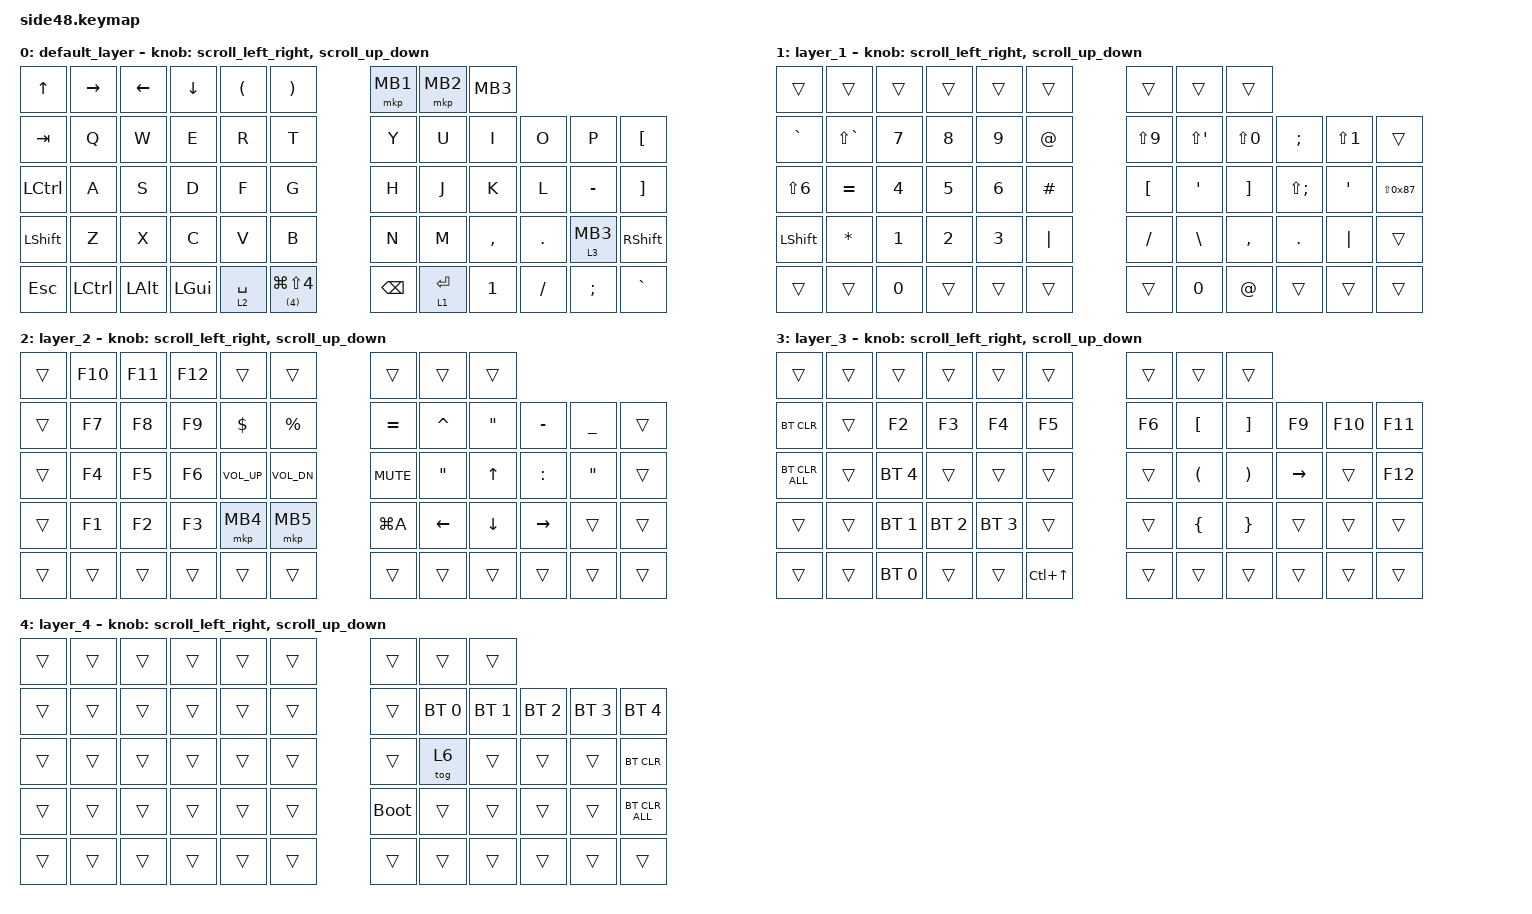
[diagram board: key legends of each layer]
#include <input/processors.dtsi>
#include <dt-bindings/zmk/input_transform.h>
#include <zephyr/dt-bindings/input/input-event-codes.h>
#include <behaviors.dtsi>
#include <dt-bindings/zmk/bt.h>
#include <dt-bindings/zmk/keys.h>
#include <dt-bindings/zmk/pointing.h>

// Conversion definition for using Japanese keyboard with OS settings

#define JP_DQUOTE       AT                // "
#define JP_AMPERSAND    CARET             // &
#define JP_QUOTE        AMPERSAND         // '
#define JP_EQUAL        UNDER             // =
#define JP_CARET        EQUAL             // ^
#define JP_YEN          0x89              // ¥
#define JP_PLUS         COLON             // +
#define JP_TILDE        PLUS              // ~
#define JP_PIPE         LS(0x89)          // |
#define JP_AT           LEFT_BRACKET      // @
#define JP_COLON        SINGLE_QUOTE      // :
#define JP_ASTERISK     DOUBLE_QUOTES     // *
#define JP_BACKQUOTE    LEFT_BRACE        // `
#define JP_UNDERSCORE   LS(0x87)          // _
#define JP_LBRACKET     RIGHT_BRACKET     // [
#define JP_RBRACKET     BACKSLASH         // ]
#define JP_LPAREN       ASTERISK          // (
#define JP_RPAREN       LEFT_PARENTHESIS  // )
#define JP_LBRACE       RIGHT_BRACE       // {
#define JP_RBRACE       PIPE              // }
#define JP_KANA         LANGUAGE_1        // かな
#define JP_EISU         LANGUAGE_2        // 英数
#define JP_HANZEN       GRAVE             // 半角/全角
#define ZMK_POINTING_DEFAULT_SCRL_VAL 100
#define MOUSE 0
#define ZMK_MOUSE_DEFAULT_SCRL_VAL 100

&mt {
    flavor = "balanced";
    quick-tap-ms = <0>;
};

/ {
    behaviors {
        lt_mkp: lt_mkp {
            compatible = "zmk,behavior-hold-tap";
            label = "LT_MKP";
            bindings = <&mo>, <&mkp>;

            #binding-cells = <2>;
            tapping-term-ms = <200>;
        };

        scroll_up_down: behavior_sensor_rotate_mouse_wheel_up_down {
            compatible = "zmk,behavior-sensor-rotate";
            #sensor-binding-cells = <0>;
            bindings = <&msc SCRL_UP>, <&msc SCRL_DOWN>;

            //bindings = <&msc SCRL_DOWN>, <&msc SCRL_UP>;
            // 追加: スクロールのタップ時間を設定 (20ms)

            tap-ms = <20>;
        };

        scroll_left_right: behavior_sensor_rotate_mouse_wheel_left_right {
            compatible = "zmk,behavior-sensor-rotate";
            #sensor-binding-cells = <0>;
            bindings = <&msc SCRL_LEFT>, <&msc SCRL_RIGHT>;

            //bindings = <&msc SCRL_RIGHT>, <&msc SCRL_LEFT>;
            // 追加: スクロールのタップ時間を設定 (20ms)

            tap-ms = <20>;
        };
    };

    combos {
        compatible = "zmk,combos";

        left_click {
            bindings = <&mkp MB1>;
            key-positions = <28 29>;
        };

        right_click {
            bindings = <&mkp MB2>;
            key-positions = <29 30>;
        };

        lang1 {
            bindings = <&kp LANGUAGE_1>;
            key-positions = <25 24>;
        };

        lang2 {
            bindings = <&kp LANG2>;
            key-positions = <23 24>;
        };
    };

    keymap {
        compatible = "zmk,keymap";

        default_layer {
            bindings = <
&kp UP     &kp RIGHT  &kp LEFT      &kp DOWN      &kp LEFT_PARENTHESIS  &kp RIGHT_PARENTHESIS       &mkp MB1       &mkp MB2     &kp MB3
&kp TAB    &kp Q      &kp W         &kp E         &kp R                 &kp T                       &kp Y          &kp U        &kp I         &kp O      &kp P          &kp LEFT_BRACKET
&kp LCTRL  &kp A      &kp S         &kp D         &kp F                 &kp G                       &kp H          &kp J        &kp K         &kp L      &kp MINUS      &kp RIGHT_BRACKET
&kp LSHFT  &kp Z      &kp X         &kp C         &kp V                 &kp B                       &kp N          &kp M        &kp COMMA     &kp DOT    &lt_mkp 3 MB3  &kp RIGHT_SHIFT
&kp ESC    &kp LCTRL  &kp LEFT_ALT  &kp LEFT_GUI  &lt 2 SPACE           &lt (4) LG(LS(NUMBER_4))    &kp BACKSPACE  &lt 1 ENTER  &kp NUMBER_1  &kp SLASH  &kp SEMI       &kp GRAVE
            >;

            sensor-bindings = <&scroll_left_right &scroll_up_down>;
        };

        layer_1 {
            bindings = <
&trans            &trans         &trans        &trans        &trans        &trans         &trans            &trans                &trans
&kp GRAVE         &kp LS(GRAVE)  &kp NUMBER_7  &kp NUMBER_8  &kp NUMBER_9  &kp AT_SIGN    &kp LS(NUMBER_9)  &kp LS(SINGLE_QUOTE)  &kp LS(NUMBER_0)   &kp SEMI      &kp LS(NUMBER_1)  &trans
&kp LS(NUMBER_6)  &kp EQUAL      &kp NUMBER_4  &kp NUMBER_5  &kp NUMBER_6  &kp HASH       &kp LEFT_BRACKET  &kp SINGLE_QUOTE      &kp RIGHT_BRACKET  &kp LS(SEMI)  &kp JP_COLON      &kp JP_UNDERSCORE
&kp LEFT_SHIFT    &kp ASTERISK   &kp NUMBER_1  &kp NUMBER_2  &kp NUMBER_3  &kp PIPE       &kp SLASH         &kp BACKSLASH         &kp COMMA          &kp PERIOD    &kp PIPE          &trans
&trans            &trans         &kp NUMBER_0  &trans        &trans        &trans         &trans            &kp NUMBER_0          &kp JP_DQUOTE      &trans        &trans            &trans
            >;

            sensor-bindings = <&scroll_left_right &scroll_up_down>;
        };

        layer_2 {
            bindings = <
&trans  &kp F10  &kp F11  &kp F12  &trans           &trans          &trans        &trans             &trans
&trans  &kp F7   &kp F8   &kp F9   &kp DOLLAR       &kp PERCENT     &kp JP_CARET  &kp JP_AMPERSAND   &kp JP_ASTERISK  &kp MINUS        &kp UNDERSCORE   &trans
&trans  &kp F4   &kp F5   &kp F6   &kp C_VOLUME_UP  &kp C_VOL_DN    &kp K_MUTE    &kp DOUBLE_QUOTES  &kp UP_ARROW     &kp JP_PLUS      &kp JP_ASTERISK  &trans
&trans  &kp F1   &kp F2   &kp F3   &mkp MB4         &mkp MB5        &kp LG(A)     &kp LEFT_ARROW     &kp DOWN_ARROW   &kp RIGHT_ARROW  &trans           &trans
&trans  &trans   &trans   &trans   &trans           &trans          &trans        &trans             &trans           &trans           &trans           &trans
            >;

            sensor-bindings = <&scroll_left_right &scroll_up_down>;
        };

        layer_3 {
            bindings = <
&trans          &trans  &trans        &trans        &trans        &trans              &trans  &trans                &trans
&bt BT_CLR      &trans  &kp F2        &kp F3        &kp F4        &kp F5              &kp F6  &kp LEFT_BRACKET      &kp RIGHT_BRACKET      &kp F9     &kp F10  &kp F11
&bt BT_CLR_ALL  &trans  &bt BT_SEL 4  &trans        &trans        &trans              &trans  &kp LEFT_PARENTHESIS  &kp RIGHT_PARENTHESIS  &kp RIGHT  &trans   &kp F12
&trans          &trans  &bt BT_SEL 1  &bt BT_SEL 2  &bt BT_SEL 3  &trans              &trans  &kp LEFT_BRACE        &kp RIGHT_BRACE        &trans     &trans   &trans
&trans          &trans  &bt BT_SEL 0  &trans        &trans        &kp LC(UP_ARROW)    &trans  &trans                &trans                 &trans     &trans   &trans
            >;

            sensor-bindings = <&scroll_left_right &scroll_up_down>;
        };

        layer_4 {
            bindings = <
&trans  &trans  &trans  &trans  &trans  &trans    &trans       &trans        &trans
&trans  &trans  &trans  &trans  &trans  &trans    &trans       &bt BT_SEL 0  &bt BT_SEL 1  &bt BT_SEL 2  &bt BT_SEL 3  &bt BT_SEL 4
&trans  &trans  &trans  &trans  &trans  &trans    &trans       &tog 6        &trans        &trans        &trans        &bt BT_CLR
&trans  &trans  &trans  &trans  &trans  &trans    &bootloader  &trans        &trans        &trans        &trans        &bt BT_CLR_ALL
&trans  &trans  &trans  &trans  &trans  &trans    &trans       &trans        &trans        &trans        &trans        &trans
            >;

            sensor-bindings = <&scroll_left_right &scroll_up_down>;
        };
    };
};
